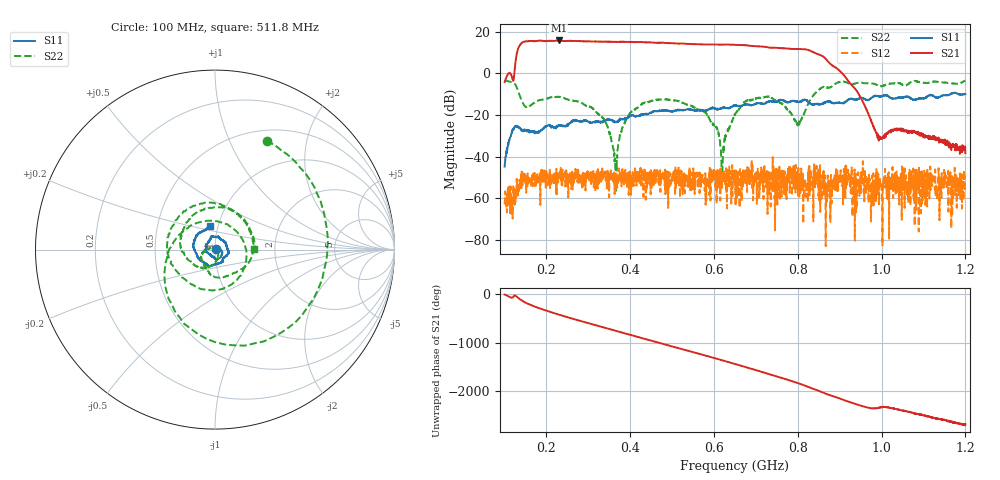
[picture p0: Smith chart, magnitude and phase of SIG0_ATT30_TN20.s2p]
# Hz S DB R 50
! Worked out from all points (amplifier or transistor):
!   1601 points, 100 MHz to 1.2 GHz, reference 50 ohm
!   highest |S21| = 15.9 dB at 229.2 MHz (marker M1)
!   |S21| within 3 dB of that: 134.2 MHz to 720.2 MHz (586 MHz wide, 137 % of centre)
!   unconditionally stable (mu >= 1): start of sweep to end of sweep
!   at 282.9 MHz: K = 29.73, MAG = 15.7 dB, |S12| = -51.4 dB
!   at 650 MHz: K = 48.30, MAG = 13.9 dB, |S12| = -53.8 dB
!   at 1.2 GHz: K = 14635.77, MAG = -35.3 dB, |S12| = -57.2 dB
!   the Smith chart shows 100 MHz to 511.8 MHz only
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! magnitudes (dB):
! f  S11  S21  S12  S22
! 100 MHz  -44.9  -4.2  -63.1  -3.5
! 125.4 MHz  -25.5  4.4  -56.2  -5.3
! 144 MHz  -27.8  15.1  -51.0  -14.4
! 229.2 MHz  -25.3  15.9  -48.7  -11.3
! 283.6 MHz  -23.0  15.5  -49.7  -14.1
! 338.6 MHz  -22.7  15.2  -48.7  -22.4
! 364.7 MHz  -23.5  15.2  -48.3  -46.9
! 378.4 MHz  -22.1  15.2  -49.8  -28.0
! 397.7 MHz  -20.7  15.1  -53.0  -19.5
! 467.1 MHz  -18.1  14.8  -52.7  -12.6
! 578.5 MHz  -17.8  14.0  -51.4  -18.7
! 606 MHz  -17.0  13.9  -62.6  -25.8
! 619.1 MHz  -16.5  13.8  -53.6  -48.5
! 650 MHz  -15.6  13.7  -53.8  -19.6
! 731.1 MHz  -13.4  12.4  -50.6  -11.1
! 801.2 MHz  -13.7  11.7  -45.5  -23.7
! 833.6 MHz  -15.0  10.6  -52.0  -11.5
! 872.1 MHz  -13.6  5.8  -56.3  -6.8
! 937.4 MHz  -12.7  -7.6  -53.1  -4.8
! 993.8 MHz  -11.1  -30.5  -63.0  -6.1
! 1.017 GHz  -11.3  -27.9  -47.6  -4.9
! 1.2 GHz  -9.9  -38.3  -57.2  -3.4
